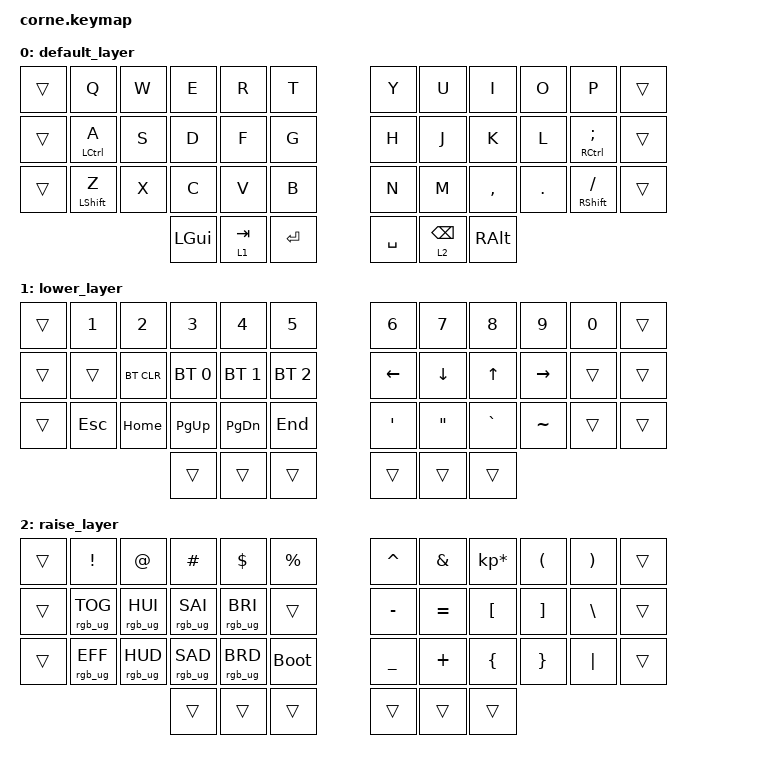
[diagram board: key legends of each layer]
/*
 * Copyright (c) 2020 The ZMK Contributors
 *
 * SPDX-License-Identifier: MIT
 */

#include <behaviors.dtsi>
#include <dt-bindings/zmk/keys.h>
#include <dt-bindings/zmk/bt.h>
#include <dt-bindings/zmk/rgb.h>

&led_strip {
    chain-length = <27>;
};

/ {
        keymap {
                compatible = "zmk,keymap";

                default_layer {
// -----------------------------------------------------------------------------------------
// |  Q         |  W  |  E  |   R    |  T  |   |  Y  |   U     |  I  |  O  |  P       |
// |  A(CTRL)   |  S  |  D  |   F    |  G  |   |  H  |   J     |  K  |  L  | ;:(CTRL) |
// |  Z(SHIFT)  |  X  |  C  |   V    |  B  |   |  N  |   M     |  ,< |  .> | /?(SHIFT)|
//                    | GUI |TAB(LWR)| ENT |   | SPC |BSPC(RSE)| ALT |
                        bindings = <
        &trans   &kp Q       &kp W    &kp E     &kp R     &kp T         &kp Y     &kp U      &kp I     &kp O   &kp P            &trans
        &trans   &mt LCTRL A &kp S    &kp D     &kp F     &kp G         &kp H     &kp J      &kp K     &kp L   &mt RCTRL SEMI   &trans
        &trans   &mt LSHFT Z &kp X    &kp C     &kp V     &kp B         &kp N     &kp M      &kp COMMA &kp DOT &mt RSHFT FSLH   &trans
                                      &kp LGUI  &lt 1 TAB &kp RET       &kp SPACE &lt 2 BSPC &kp RALT
                        >;
                };
                lower_layer {
// -----------------------------------------------------------------------------------------
// |  1  |  2  |  3  |  4  |  5  |   |  6  |  7  |  8  |  9  |  0  |
// | BT1 | BT2 | BT3 | BT4 | BT5 |   | LFT | DWN |  UP | RGT |     |
// | ESC | HOME| PGUP| PGDN| END |   |  '  |  "  |  `  |  ~  |     |
//             |     |     |     |   |     |     |     |
                        bindings = <
        &trans   &kp N1   &kp N2      &kp N3        &kp N4        &kp N5              &kp N6   &kp N7   &kp N8    &kp N9     &kp N0 &trans
        &trans   &trans   &bt BT_CLR  &bt BT_SEL 0  &bt BT_SEL 1  &bt BT_SEL 2        &kp LEFT &kp DOWN &kp UP    &kp RIGHT  &trans &trans
        &trans   &kp ESC  &kp HOME    &kp PG_UP     &kp PG_DN     &kp END             &kp SQT  &kp DQT  &kp GRAVE &kp TILDE  &trans &trans
                                      &trans        &trans        &trans              &trans   &trans   &trans
                        >;
                };

                raise_layer {
// -----------------------------------------------------------------------------------------
// |   !   |   @   |   #   |   $   |   %   |   |  ^  |  &  |  *  |  (  |  )  |
// |RGB_TOG|RGB_HUI|RGB_SAI|RGB_VAI|       |   |  -  |  =  |  [  |  ]  |  \  | 
// |RGB_MOD|RGB_HUD|RGB_SAD|RGB_VAD|QK_BOOT|   |  _  |  +  |  {  |  }  | "|" |
//                   |     |       |       |   |     |     |     |
                        bindings = <
        &trans   &kp EXCL           &kp AT           &kp HASH         &kp DLLR          &kp PRCNT             &kp CARET &kp AMPS  &kp KP_MULTIPLY &kp LPAR &kp RPAR &trans
        &trans   &rgb_ug  RGB_TOG   &rgb_ug RGB_HUI  &rgb_ug RGB_SAI  &rgb_ug RGB_BRI   &trans                &kp MINUS &kp EQUAL &kp LBKT        &kp RBKT &kp BSLH &trans
        &trans   &rgb_ug RGB_EFF    &rgb_ug RGB_HUD  &rgb_ug RGB_SAD  &rgb_ug RGB_BRD   &bootloader           &kp UNDER &kp PLUS  &kp LBRC        &kp RBRC &kp PIPE &trans
                                                     &trans           &trans            &trans                &trans    &trans    &trans
                        >;
                };
        };
};
